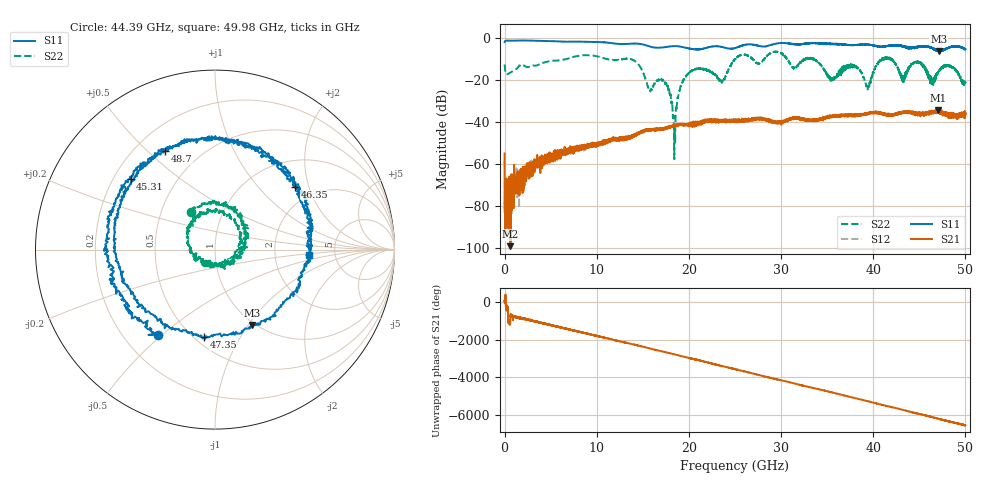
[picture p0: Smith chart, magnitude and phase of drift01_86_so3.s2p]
!Created with skrf (http://scikit-rf.org).
# Hz S RI R 50.0
!freq ReS11 ImS11 ReS21 ImS21 ReS12 ImS12 ReS22 ImS22
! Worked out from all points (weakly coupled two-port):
!   10001 points, 300 kHz to 50 GHz, reference 50 ohm
!   highest |S21| = -34.46 dB at 47.07 GHz (marker M1); lowest = -99.3 dB at 620.3 MHz (marker M2)
!   lowest |S11| = -6.6 dB at 47.12 GHz (marker M3), VSWR 2.76, Z = 48.4 - j52 ohm
!   |S11| at or under -10 dB: nowhere
!   |S22| runs from -57.9 to -6.6 dB; largest |S21 - S12| = 0.0046
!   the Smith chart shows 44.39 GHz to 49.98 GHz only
!   S11 on the Smith chart (normalised r, x): 44.39 GHz: 0.34, -0.49; 45.31 GHz: 0.27, +0.34; 46.35 GHz: 1.57, +1.63; 47.35 GHz: 0.56, -0.72; 48.7 GHz: 0.32, +0.57; 49.98 GHz: 3.20, -0.29
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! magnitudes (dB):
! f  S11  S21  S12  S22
! 300 kHz  -2.2  -55.2  -58.6  -12.9
! 620.3 MHz  -1.5  -99.3  -82.0  -16.7
! 8.335 GHz  -1.9  -51.6  -52.3  -8.5
! 16.67 GHz  -4.8  -43.8  -43.8  -20.0
! 17.74 GHz  -4.3  -42.8  -42.9  -24.4
! 18.45 GHz  -4.1  -41.9  -41.7  -43.7
! 19.95 GHz  -5.1  -41.7  -41.3  -17.1
! 23.63 GHz  -4.6  -39.8  -40.1  -20.8
! 25 GHz  -5.0  -39.5  -39.3  -10.3
! 33.34 GHz  -2.6  -39.3  -39.5  -9.9
! 39.43 GHz  -3.3  -36.3  -36.2  -23.8
! 41.67 GHz  -3.9  -36.4  -36.9  -10.3
! 43.2 GHz  -4.0  -35.6  -35.5  -20.7
! 44.39 GHz  -4.8  -35.2  -35.7  -12.0
! 45.31 GHz  -4.2  -36.0  -36.4  -12.9
! 46.35 GHz  -4.9  -35.4  -35.4  -22.6
! 47.07 GHz  -6.4  -34.5  -35.5  -16.1
! 47.12 GHz  -6.6  -34.8  -35.4  -16.1
! 47.35 GHz  -6.2  -35.4  -35.6  -14.9
! 48.7 GHz  -4.2  -37.3  -37.1  -14.6
! 49.98 GHz  -5.6  -36.1  -35.7  -21.2
! 50 GHz  -5.5  -36.1  -37.4  -21.6
